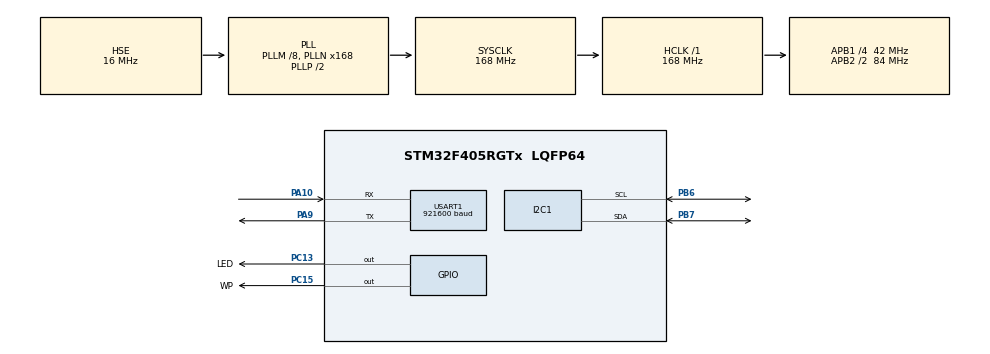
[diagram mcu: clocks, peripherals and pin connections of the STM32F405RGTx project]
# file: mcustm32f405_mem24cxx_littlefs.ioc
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I2C1.I2C_Mode=I2C_Fast
Mcu.Family=STM32F4
Mcu.Name=STM32F405RGTx
Mcu.Package=LQFP64
NVIC.PriorityGroup=NVIC_PRIORITYGROUP_4
PA10.Mode=Asynchronous
PA10.Signal=USART1_RX
PA13.Mode=Trace_Asynchronous_SW
PA13.Signal=SYS_JTMS-SWDIO
PA14.Mode=Trace_Asynchronous_SW
PA14.Signal=SYS_JTCK-SWCLK
PA9.Mode=Asynchronous
PA9.Signal=USART1_TX
PB3.Mode=Trace_Asynchronous_SW
PB3.Signal=SYS_JTDO-SWO
PB6.Mode=I2C
PB6.Signal=I2C1_SCL
PB7.Mode=I2C
PB7.Signal=I2C1_SDA
PC13-ANTI_TAMP.GPIO_Label=LED
PC13-ANTI_TAMP.GPIO_ModeDefaultOutputPP=GPIO_MODE_OUTPUT_OD
PC13-ANTI_TAMP.GPIO_PuPd=GPIO_NOPULL
PC13-ANTI_TAMP.PinState=GPIO_PIN_SET
PC13-ANTI_TAMP.Signal=GPIO_Output
PC15-OSC32_OUT.GPIO_Label=WP
PC15-OSC32_OUT.PinState=GPIO_PIN_SET
PC15-OSC32_OUT.Signal=GPIO_Output
PH0-OSC_IN.Mode=HSE-External-Oscillator
PH0-OSC_IN.Signal=RCC_OSC_IN
PH1-OSC_OUT.Mode=HSE-External-Oscillator
PH1-OSC_OUT.Signal=RCC_OSC_OUT
ProjectManager.HeapSize=0x200
ProjectManager.StackSize=0x400
ProjectManager.TargetToolchain=STM32CubeIDE
RCC.48MHZClocksFreq_Value=48000000
RCC.AHBFreq_Value=168000000
RCC.APB1CLKDivider=RCC_HCLK_DIV4
RCC.APB1Freq_Value=42000000
RCC.APB1TimFreq_Value=84000000
RCC.APB2CLKDivider=RCC_HCLK_DIV2
RCC.APB2Freq_Value=84000000
RCC.APB2TimFreq_Value=168000000
RCC.CortexFreq_Value=168000000
RCC.HCLKFreq_Value=168000000
RCC.HSE_VALUE=16000000
RCC.HSI_VALUE=16000000
RCC.LSE_VALUE=32768
RCC.PLLM=8
RCC.PLLN=168
RCC.PLLQ=7
RCC.PLLSourceVirtual=RCC_PLLSOURCE_HSE
RCC.SYSCLKFreq_VALUE=168000000
RCC.SYSCLKSource=RCC_SYSCLKSOURCE_PLLCLK
RCC.VCOOutputFreq_Value=336000000
USART1.BaudRate=921600
USART1.VirtualMode=VM_ASYNC
VP_CRC_VS_CRC.Mode=CRC_Activate
VP_RNG_VS_RNG.Mode=RNG_Activate
board=custom

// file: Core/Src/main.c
/* USER CODE BEGIN Header */
/**
 ******************************************************************************
 * @file           : main.c
 * @brief          : Main program body
 ******************************************************************************
 * @attention
 *
 * Copyright (c) 2024 Lars Boegild Thomsen <lth@stm32world.com>.
 * All rights reserved.
 *
 * This software is licensed under terms that can be found in the LICENSE file
 * in the root directory of this software component.
 * If no LICENSE file comes with this software, it is provided AS-IS.
 *
 ******************************************************************************
 */
/* USER CODE END Header */
#include "main.h"

/* USER CODE BEGIN Includes */
#include "lfs.h"
#include "m24cxx.h"
#include "littlefs.h"
/* USER CODE END Includes */

/* USER CODE BEGIN PD */
#define FILES_COUNT 33
//#define FILE_SIZE 16 * 1024
/* USER CODE END PD */

CRC_HandleTypeDef hcrc;

I2C_HandleTypeDef hi2c1;

RNG_HandleTypeDef hrng;

UART_HandleTypeDef huart1;

/* USER CODE BEGIN PV */

const uint32_t file_sizes[] = {
        64 * 1024,
        32 * 1024,
        16 * 1024,
        8 * 1024,
        4 * 1024,
        2 * 1024,
        1024,
        512,
        256,
        128,
        64
};

M24CXX_HandleTypeDef m24cxx;
uint8_t key[256] = {0}; // key used for encryption
char file_names[FILES_COUNT][13];
uint32_t start_time;
lfs_file_t file;
/* USER CODE END PV */

void SystemClock_Config(void);
static void MX_GPIO_Init(void);
static void MX_USART1_UART_Init(void);
static void MX_I2C1_Init(void);
static void MX_CRC_Init(void);
static void MX_RNG_Init(void);

/* USER CODE BEGIN 0 */

// Send stdout to USART1 and stderr to SWO
int _write(int fd, char *ptr, int len) {

    if (fd == 1) {
        HAL_StatusTypeDef hstatus;
        hstatus = HAL_UART_Transmit(&huart1, (uint8_t*) ptr, len, HAL_MAX_DELAY);
        if (hstatus == HAL_OK)
            return len;
        else
            return -1;
    } else if (fd == 2) {
        for (int i = 0; i < len; i++) {
            ITM_SendChar(ptr[i]); /* core_cm4.h */
        }
        return len;
    }
    return -1;
}

inline uint32_t HAL_GetTick(void) {
  return uwTick;
}

int lfs_ls(lfs_t *lfs, const char *path) {
    lfs_dir_t dir;
    int err = lfs_dir_open(lfs, &dir, path);
    if (err) {
        return err;
    }

    struct lfs_info info;
    while (true) {
        int res = lfs_dir_read(lfs, &dir, &info);
        if (res < 0) {
            return res;
        }

        if (res == 0) {
            break;
        }

        switch (info.type) {
        case LFS_TYPE_REG:
            printf("reg ");
            break;
        case LFS_TYPE_DIR:
            printf("dir ");
            break;
        default:
            printf("?   ");
            break;
        }

        printf("%8lu B ", info.size);

        printf("%s\n", info.name);
    }

    err = lfs_dir_close(lfs, &dir);
    if (err) {
        return err;
    }

    return 0;
}

void clear_buffer(uint8_t *d, uint32_t s) {
    memset(d, 0, s);
}

void fill_buffer(uint8_t *d, uint32_t s) {
    for (int i = 0; i < s; ++i) d[i] = (uint8_t)i;
}

void show_hex(uint8_t *data, int len) {

    static const int line_len = 16;

    for (int i = 0; i < len; ++i) {

        if (i % line_len == 0) {
            printf("%08x: ", i);
        }

        printf("%02x ", data[i]);

        if ((i + 1) % line_len == 0) {
            printf("\n");
        }

    }
}

void delete_all_files() {

    uint32_t start_time, end_time;
    lfs_dir_t dir;
    struct lfs_info info;

    DBG("Deleting all files\n");

    int err = lfs_dir_open(&littlefs, &dir, "/");
    if (err) {
        Error_Handler();
    }

    while (lfs_dir_read(&littlefs, &dir, &info)) {
        if (info.type == LFS_TYPE_REG) {
            DBG("Removing regular file '%s'", info.name);
            start_time = HAL_GetTick();
            lfs_remove(&littlefs, info.name);
            end_time = HAL_GetTick();
            DBG(" (removed in %lu ms - disk use %lu B)\n", end_time - start_time, littlefs_du());
        }
    }

    err = lfs_dir_close(&littlefs, &dir);

    DBG("Done deleting files\n");

}

void generate_file_names() {
    for (int i = 0; i < FILES_COUNT; ++i) {
        sprintf(file_names[i], "file%03d.dat", i);
    }
}

void do_files() {

    uint32_t write_crc = HAL_CRC_Calculate(&hcrc, NULL, 0); // Start from zero
    uint32_t start_time, end_time;

    // Create all files
    for (int i = 0; i < FILES_COUNT; ++i) {

        uint8_t buffer[file_sizes[i % (sizeof(file_sizes) / sizeof(file_sizes[0]))]];

        fill_buffer((uint8_t *)&buffer, sizeof(buffer));

        write_crc = HAL_CRC_Accumulate(&hcrc, (uint32_t *)&buffer, sizeof(buffer) / 4);

        DBG("Writing file %s", file_names[i]);
        start_time = HAL_GetTick();
        lfs_file_open(&littlefs, &file, file_names[i], LFS_O_RDWR | LFS_O_CREAT);

        uint32_t bytes_written = lfs_file_write(&littlefs, &file, &buffer, sizeof(buffer));

        // remember the storage is not updated until the file is closed successfully
        lfs_file_close(&littlefs, &file);
        end_time = HAL_GetTick();

        DBG(" (%lu bytes in %lu ms speed %lu B/s)\n", bytes_written, end_time - start_time, 1000 * bytes_written / (end_time - start_time));

    }

    uint32_t read_crc = HAL_CRC_Calculate(&hcrc, NULL, 0);

    // Now read all the files
    for (int i = 0; i < FILES_COUNT; ++i) {

        uint8_t buffer[file_sizes[i % (sizeof(file_sizes) / sizeof(file_sizes[0]))]];

        clear_buffer((uint8_t *)&buffer, sizeof(buffer));

        DBG("Reading file %s", file_names[i]);
        start_time = HAL_GetTick();
        lfs_file_open(&littlefs, &file, file_names[i], LFS_O_RDONLY);
        uint32_t bytes_read = lfs_file_read(&littlefs, &file, &buffer, sizeof(buffer));
        lfs_file_close(&littlefs, &file);
        DBG(" (%lu bytes in %lu ms)\n", bytes_read, HAL_GetTick() - start_time);

        read_crc = HAL_CRC_Accumulate(&hcrc, (uint32_t *)&buffer, sizeof(buffer) / 4);

    }

    DBG("Write CRC = 0x%08lx - Read CRC = 0x%08lx - %s\n", write_crc, read_crc, write_crc == read_crc ? "MATCH" : "NO MATCH");

}

/* USER CODE END 0 */

int main(void)
{

  /* MCU Configuration--------------------------------------------------------*/

  /* Reset of all peripherals, Initializes the Flash interface and the Systick. */
  HAL_Init();

  /* Configure the system clock */
  SystemClock_Config();

  /* Initialize all configured peripherals */
  MX_GPIO_Init();
  MX_USART1_UART_Init();
  MX_I2C1_Init();
  MX_CRC_Init();
  MX_RNG_Init();
  /* USER CODE BEGIN 2 */

    setbuf(stdout, NULL); // Don't buffer printf

    DBG("\n\n\n\nStarting 24M01 test\n");

    HAL_Delay(100);

    DBG("Yank WP low to allow write\n");
    HAL_GPIO_WritePin(WP_GPIO_Port, WP_Pin, GPIO_PIN_RESET);

    // Wait a few ms to get ready
    HAL_Delay(100);

    DBG("Scanning I2C bus:\n");
    // Go through all possible i2c addresses
    for (uint8_t i = 0; i < 128; i++) {

        if (HAL_I2C_IsDeviceReady(&hi2c1, (uint16_t) (i << 1), 3, 100) == HAL_OK) {
            DBG("%2x ", i); // We got an ack
        } else {
            DBG("-- "); // No ack
        }

        if (i > 0 && (i + 1) % 16 == 0)
            DBG("\n");

    }

    DBG("\n");

    DBG("Initializing %s - %u kB EEPROM\n", M24CXX_TYPE, M24CXX_SIZE / 1024);

    if (m24cxx_init(&m24cxx, &hi2c1, 0x50) != M24CXX_Ok) {
        DBG("M24CXX Failed to initialize");
        Error_Handler();
    }

//    DBG("Erasing EEPROM\n");
//    m24cxx_erase_all(&m24cxx);

    for (int i = 0; i < sizeof(key); ++i) {
        key[i] = (uint8_t)i;
    }

    DBG("Initializing littlefs\n");

    if (littlefs_init(&m24cxx, &key) != 0) {
        DBG("Littlefs Init Error");
        Error_Handler();
    }

    delete_all_files();

    generate_file_names();

    do_files();

    HAL_Delay(2000);

    DBG("Files:\n");
    lfs_ls(&littlefs, "/");

    DBG("Littlefs report size = %lu, use = %lu\n", littlefs_size(), littlefs_du());

  /* USER CODE END 2 */

  /* Infinite loop */
  /* USER CODE BEGIN WHILE */

    uint32_t now = 0, last_blink = 0;

    while (1) {

        now = HAL_GetTick();

        if (now - last_blink >= 500) {

            HAL_GPIO_TogglePin(LED_GPIO_Port, LED_Pin);

            last_blink = now;
        }

    /* USER CODE END WHILE */

    }
}

void SystemClock_Config(void)
{
  RCC_OscInitTypeDef RCC_OscInitStruct = {0};
  RCC_ClkInitTypeDef RCC_ClkInitStruct = {0};

  /** Configure the main internal regulator output voltage
  */
  __HAL_RCC_PWR_CLK_ENABLE();
  __HAL_PWR_VOLTAGESCALING_CONFIG(PWR_REGULATOR_VOLTAGE_SCALE1);

  /** Initializes the RCC Oscillators according to the specified parameters
  * in the RCC_OscInitTypeDef structure.
  */
  RCC_OscInitStruct.OscillatorType = RCC_OSCILLATORTYPE_HSE;
  RCC_OscInitStruct.HSEState = RCC_HSE_ON;
  RCC_OscInitStruct.PLL.PLLState = RCC_PLL_ON;
  RCC_OscInitStruct.PLL.PLLSource = RCC_PLLSOURCE_HSE;
  RCC_OscInitStruct.PLL.PLLM = 8;
  RCC_OscInitStruct.PLL.PLLN = 168;
  RCC_OscInitStruct.PLL.PLLP = RCC_PLLP_DIV2;
  RCC_OscInitStruct.PLL.PLLQ = 7;
  if (HAL_RCC_OscConfig(&RCC_OscInitStruct) != HAL_OK)
  {
    Error_Handler();
  }

  /** Initializes the CPU, AHB and APB buses clocks
  */
  RCC_ClkInitStruct.ClockType = RCC_CLOCKTYPE_HCLK|RCC_CLOCKTYPE_SYSCLK
                              |RCC_CLOCKTYPE_PCLK1|RCC_CLOCKTYPE_PCLK2;
  RCC_ClkInitStruct.SYSCLKSource = RCC_SYSCLKSOURCE_PLLCLK;
  RCC_ClkInitStruct.AHBCLKDivider = RCC_SYSCLK_DIV1;
  RCC_ClkInitStruct.APB1CLKDivider = RCC_HCLK_DIV4;
  RCC_ClkInitStruct.APB2CLKDivider = RCC_HCLK_DIV2;

  if (HAL_RCC_ClockConfig(&RCC_ClkInitStruct, FLASH_LATENCY_5) != HAL_OK)
  {
    Error_Handler();
  }
}

static void MX_CRC_Init(void)
{

  hcrc.Instance = CRC;
  if (HAL_CRC_Init(&hcrc) != HAL_OK)
  {
    Error_Handler();
  }

}

static void MX_I2C1_Init(void)
{

  hi2c1.Instance = I2C1;
  hi2c1.Init.ClockSpeed = 400000;
  hi2c1.Init.DutyCycle = I2C_DUTYCYCLE_2;
  hi2c1.Init.OwnAddress1 = 0;
  hi2c1.Init.AddressingMode = I2C_ADDRESSINGMODE_7BIT;
  hi2c1.Init.DualAddressMode = I2C_DUALADDRESS_DISABLE;
  hi2c1.Init.OwnAddress2 = 0;
  hi2c1.Init.GeneralCallMode = I2C_GENERALCALL_DISABLE;
  hi2c1.Init.NoStretchMode = I2C_NOSTRETCH_DISABLE;
  if (HAL_I2C_Init(&hi2c1) != HAL_OK)
  {
    Error_Handler();
  }

}

static void MX_RNG_Init(void)
{

  hrng.Instance = RNG;
  if (HAL_RNG_Init(&hrng) != HAL_OK)
  {
    Error_Handler();
  }

}

static void MX_USART1_UART_Init(void)
{

  huart1.Instance = USART1;
  huart1.Init.BaudRate = 921600;
  huart1.Init.WordLength = UART_WORDLENGTH_8B;
  huart1.Init.StopBits = UART_STOPBITS_1;
  huart1.Init.Parity = UART_PARITY_NONE;
  huart1.Init.Mode = UART_MODE_TX_RX;
  huart1.Init.HwFlowCtl = UART_HWCONTROL_NONE;
  huart1.Init.OverSampling = UART_OVERSAMPLING_16;
  if (HAL_UART_Init(&huart1) != HAL_OK)
  {
    Error_Handler();
  }

}

static void MX_GPIO_Init(void)
{
  GPIO_InitTypeDef GPIO_InitStruct = {0};

  /* GPIO Ports Clock Enable */
  __HAL_RCC_GPIOC_CLK_ENABLE();
  __HAL_RCC_GPIOH_CLK_ENABLE();
  __HAL_RCC_GPIOA_CLK_ENABLE();
  __HAL_RCC_GPIOB_CLK_ENABLE();

  /*Configure GPIO pin Output Level */
  HAL_GPIO_WritePin(GPIOC, LED_Pin|WP_Pin, GPIO_PIN_SET);

  /*Configure GPIO pin : LED_Pin */
  GPIO_InitStruct.Pin = LED_Pin;
  GPIO_InitStruct.Mode = GPIO_MODE_OUTPUT_OD;
  GPIO_InitStruct.Pull = GPIO_NOPULL;
  GPIO_InitStruct.Speed = GPIO_SPEED_FREQ_LOW;
  HAL_GPIO_Init(LED_GPIO_Port, &GPIO_InitStruct);

  /*Configure GPIO pin : WP_Pin */
  GPIO_InitStruct.Pin = WP_Pin;
  GPIO_InitStruct.Mode = GPIO_MODE_OUTPUT_PP;
  GPIO_InitStruct.Pull = GPIO_NOPULL;
  GPIO_InitStruct.Speed = GPIO_SPEED_FREQ_LOW;
  HAL_GPIO_Init(WP_GPIO_Port, &GPIO_InitStruct);

}

void Error_Handler(void)
{
    __disable_irq();
    while (1)
    {
    }
}
